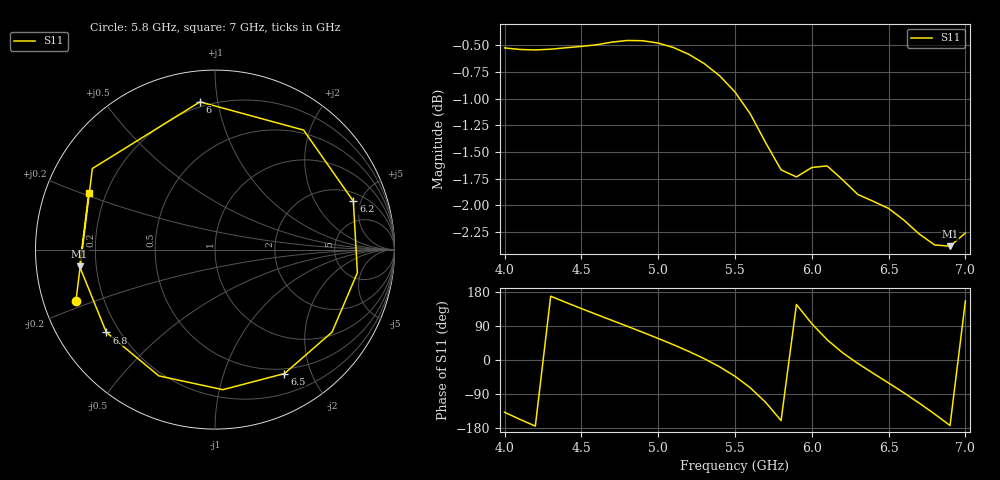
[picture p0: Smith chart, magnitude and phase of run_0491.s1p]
! Touchstone file exported from HFSS 2024.2.0
!  File:  C:/Users/wsak9/Desktop/Sim Fast/Widenad Patch/WP_AI_V1_sweep.aedt
!  Generated:  12:35:28 PM Oct 14, 2026
!  Design:  A1_model
!  Project:  WP_AI_V1_sweep
!  Setup:  Setup1
!  Solution:  Sweep
! Variables:
!  Air_gap = 4.97mm
!  Curve_Amp1 = 1.85
!  Curve_len1 = 1
!  Curve_pos = 10.13mm
!  Extra = 3.03mm
!  H_sub = 0.79mm
!  L_Patch = 16.26mm
!  L_Patch1 = 19.53mm
!  Sx = 2.57mm
!  Sy = 1.48mm
!  WS = 1.17mm
!  W_Patch = 10.69mm
!  W_Patch1 = 16.5mm
!Data is not renormalized
# GHz S MA
! Terminal data exported
! Port[1] = 1
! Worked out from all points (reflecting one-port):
!   31 points, 4 GHz to 7 GHz, reference per port
!   lowest |S11| = -2.4 dB at 6.9 GHz (marker M1), VSWR 7.34
!   phase of S11 starts at -138 deg and turns -786 deg over the sweep
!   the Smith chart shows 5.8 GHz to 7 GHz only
!   S11 on the Smith chart (normalised r, x): 5.8 GHz: 0.10, -0.18; 6 GHz: 0.17, +0.89; 6.2 GHz: 2.67, +4.31; 6.5 GHz: 0.44, -1.62; 6.8 GHz: 0.15, -0.33; 7 GHz: 0.14, +0.21
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4  0.9414 -138.0
4.1  0.9398 -156.7
4.2  0.9394 -174.5
4.3  0.9401 168.4
4.4  0.9416 151.8
4.6  0.9446 120.0
4.8  0.949 88.8
4.9  0.9487 73.0
5  0.9463 56.9
5.2  0.9349 22.5
5.3  0.9256 3.4
5.4  0.9135 -18.0
5.5  0.8977 -43.0
5.6  0.8766 -73.4
5.7  0.8497 -111.9
5.8  0.8253 -159.8
5.9  0.819 146.5
6  0.8274 95.8
6.1  0.8288 53.5
6.2  0.8166 19.3
6.3  0.8036 -9.2
6.4  0.7978 -35.2
6.5  0.7916 -60.7
6.6  0.7817 -86.8
6.7  0.77 -114.0
6.8  0.7611 -142.7
6.9  0.7601 -172.9
7  0.7709 155.8
